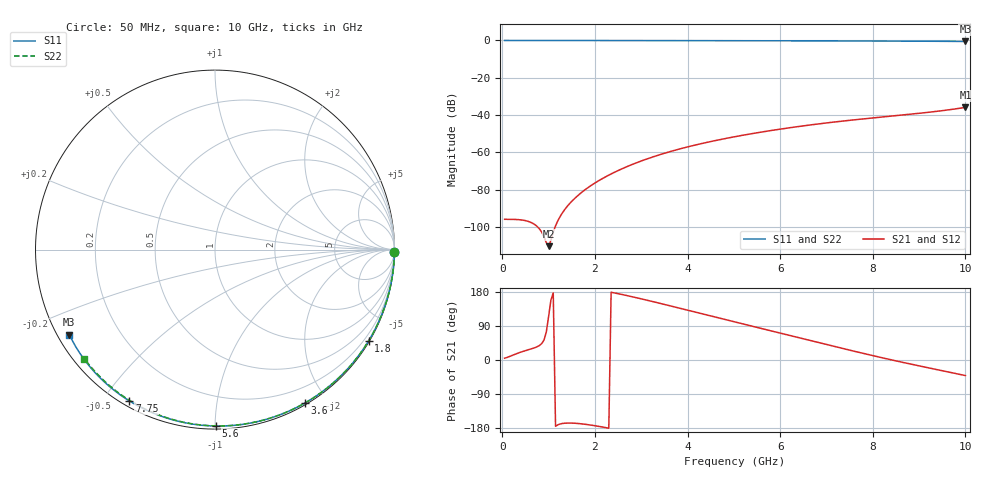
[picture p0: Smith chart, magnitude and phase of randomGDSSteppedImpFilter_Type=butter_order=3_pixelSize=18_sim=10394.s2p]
! freq	dB(S11)	phase(S11)	dB(S12)	phase(S12)
!  dB(S21)	phase(S21)	dB(S22)	phase(S22)
!S-par simulation data
#  GHz  S  DB  R 50
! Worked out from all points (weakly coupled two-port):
!   200 points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, 50 MHz to 10 GHz, reference 50 ohm
!   highest |S21| = -35.91 dB at 10 GHz (marker M1); lowest = -110.4 dB at 1 GHz (marker M2)
!   lowest |S11| = -0.5 dB at 10 GHz (marker M3), VSWR 32.14, Z = 1.67 - j13.5 ohm
!   |S11| at or under -10 dB: nowhere
!   |S22| runs from -0.5 to 0.0 dB; largest |S21 - S12| = 0
!   S11 on the Smith chart (normalised r, x): 50 MHz: open; 1.8 GHz: 0.03, -3.66; 3.6 GHz: 0.02, -1.74; 5.6 GHz: 0.02, -1.01; 7.75 GHz: 0.02, -0.58; 10 GHz: 0.03, -0.27
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0.05  -0.00 -0.9  -95.98 4.7  -95.98 4.7  -0.00 -0.8
0.5  -0.01 -8.6  -96.69 24.7  -96.69 24.7  -0.01 -8.1
1  -0.02 -17.2  -110.39 114.7  -110.39 114.7  -0.02 -16.2
1.75  -0.04 -29.8  -80.81 -169.0  -80.81 -169.0  -0.04 -28.0
1.8  -0.04 -30.6  -79.87 -169.8  -79.87 -169.8  -0.04 -28.8
1.95  -0.04 -33.1  -77.29 -172.4  -77.29 -172.4  -0.04 -31.2
2.1  -0.05 -35.6  -75.00 -175.5  -75.00 -175.5  -0.04 -33.5
2.3  -0.05 -38.9  -72.26 -180.0  -72.26 -180.0  -0.05 -36.6
2.5  -0.05 -42.1  -69.82 175.1  -69.82 175.1  -0.05 -39.7
2.9  -0.06 -48.6  -65.61 164.3  -65.61 164.3  -0.06 -45.8
3.4  -0.08 -56.5  -61.30 149.7  -61.30 149.7  -0.07 -53.3
3.6  -0.08 -59.7  -59.81 143.7  -59.81 143.7  -0.08 -56.3
4.3  -0.10 -70.5  -55.34 122.4  -55.34 122.4  -0.09 -66.4
5.05  -0.13 -81.6  -51.51 99.6  -51.51 99.6  -0.12 -77.0
5.6  -0.15 -89.6  -49.14 83.0  -49.14 83.0  -0.14 -84.5
6.15  -0.17 -97.5  -47.04 66.4  -47.04 66.4  -0.16 -91.9
6.7  -0.21 -105.1  -45.18 49.9  -45.18 49.9  -0.19 -99.1
7.2  -0.24 -112.0  -43.68 34.9  -43.68 34.9  -0.22 -105.5
7.75  -0.28 -119.5  -42.20 18.7  -42.20 18.7  -0.26 -112.5
8.35  -0.33 -127.5  -40.72 1.8  -40.72 1.8  -0.31 -120.0
9.35  -0.44 -140.9  -38.13 -24.4  -38.13 -24.4  -0.40 -132.2
10  -0.54 -149.7  -35.91 -41.1  -35.91 -41.1  -0.46 -140.1
